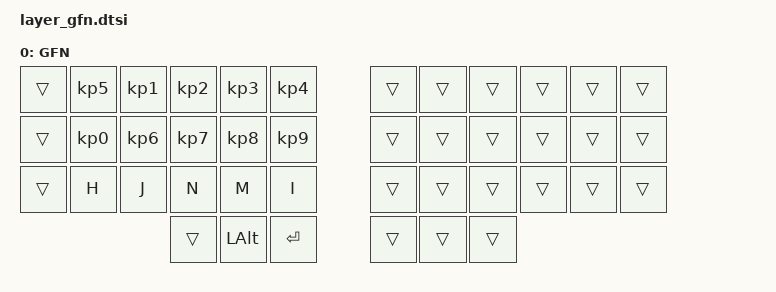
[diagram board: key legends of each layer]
/**
 * GFN Layer
 */

/ {
    keymap {
        compatible = "zmk,keymap";

        gfn_layer {
            display-name = "GFN";
            bindings = <
// ╭───────────────┬───────────────┬───────────────┬───────────────┬───────────────┬───────────────╮   ╭───────────────┬───────────────┬───────────────┬───────────────┬───────────────┬───────────────╮
// │0              │1              │2              │3              │4              │5              │   │6              │7              │8              │9              │10             │11             │
    &trans          &kp KP_N5       &kp KP_N1       &kp KP_N2       &kp KP_N3       &kp KP_N4           &trans          &trans          &trans          &trans          &trans          &trans
// ├───────────────├───────────────┼───────────────┼───────────────┼───────────────┼───────────────┤   ├───────────────├───────────────┼───────────────┼───────────────┼───────────────┼───────────────┤
// │12             │13             │14             │15             │16             │17             │   │18             │19             │20             │21             │22             │23             │
    &trans          &kp KP_N0       &kp KP_N6       &kp KP_N7       &kp KP_N8       &kp KP_N9           &trans          &trans          &trans          &trans          &trans          &trans
// ├───────────────├───────────────┼───────────────┼───────────────┼───────────────┼───────────────┤   ├───────────────├───────────────┼───────────────┼───────────────┼───────────────┼───────────────┤
// │24             │25             │26             │27             │28             │29             │   │30             │31             │32             │33             │34             │35             │
    &trans          &kp H           &kp J           &kp N           &kp M           &kp I               &trans          &trans          &trans          &trans          &trans          &trans
// ╰───────────────┴───────────────┴───────────────┼───────────────┼───────────────┼───────────────┤   ├───────────────├───────────────┼───────────────┼───────────────┴───────────────┴───────────────╯
//                                                 │36             │37             │38             │   │39             │40             │41             │
                                                    &trans          &kp LALT        &kp ENTER           &trans          &trans          &trans
//                                                 ╰───────────────┴───────────────┴───────────────╯   ╰───────────────┴───────────────┴───────────────╯
            >;
        };
    };
};
